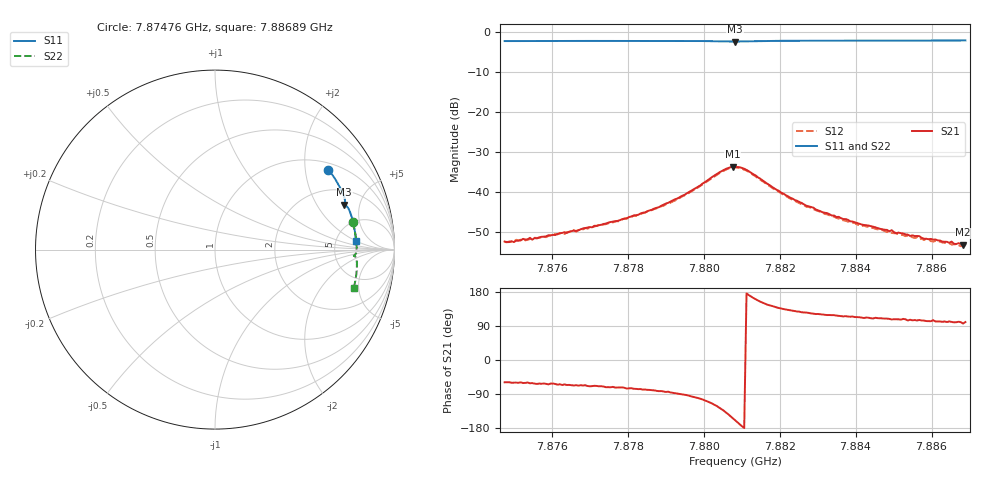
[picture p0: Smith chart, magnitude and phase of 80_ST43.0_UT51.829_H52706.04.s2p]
#  HZ  S  DB  R  50.00
! Rohde & Schwarz Vector Network Analyzer
! Rohde-Schwarz,ZNB20-2Port,1311601062101988,3.16
! Created: UTC 1/12/2023, 6:35:08 PM
! freq[Hz]  db:S11  ang:S11  db:S21  ang:S21  db:S12  ang:S12  db:S22  ang:S22
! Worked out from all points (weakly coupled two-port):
!   201 points, 7.87476 GHz to 7.88689 GHz, reference 50 ohm
!   highest |S21| = -33.66 dB at 7.88077 GHz (marker M1); lowest = -53.1 dB at 7.88683 GHz (marker M2)
!   lowest |S11| = -2.4 dB at 7.88083 GHz (marker M3), VSWR 7.43, Z = 148 + j178 ohm
!   |S11| at or under -10 dB: nowhere
!   |S22| runs from -2.2 to -1.9 dB; largest |S21 - S12| = 0.0014
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7.87476e9  -2.23 35.2  -52.36 -58.9  -52.48 -61.0  -2.15 11.2
7.875003e9  -2.22 34.5  -52.50 -59.8  -52.40 -62.1  -2.14 10.6
7.875428e9  -2.22 33.4  -51.43 -61.4  -51.70 -64.0  -2.12 9.5
7.875488e9  -2.22 33.2  -51.90 -60.9  -51.56 -63.1  -2.12 9.4
7.876823e9  -2.20 29.6  -49.10 -67.4  -49.32 -69.8  -2.08 6.3
7.877793e9  -2.18 26.9  -47.03 -72.2  -47.26 -77.3  -2.06 4.0
7.878824e9  -2.18 24.0  -43.75 -82.2  -43.81 -85.1  -2.06 1.6
7.879249e9  -2.19 22.8  -41.79 -87.8  -42.10 -90.9  -2.06 0.5
7.880522e9  -2.31 19.4  -34.48 -133.2  -34.67 -136.7  -2.18 -2.4
7.880765e9  -2.35 19.2  -33.66 -153.3  -33.86 -156.7  -2.23 -2.5
7.880826e9  -2.35 19.2  -33.67 -158.5  -33.84 -162.4  -2.23 -2.5
7.881129e9  -2.31 19.0  -34.45 175.7  -34.61 172.2  -2.18 -2.6
7.882039e9  -2.16 16.6  -40.12 135.9  -40.25 132.9  -2.03 -4.4
7.882888e9  -2.13 14.2  -43.89 122.4  -44.26 119.5  -1.99 -6.5
7.884162e9  -2.10 10.8  -48.10 111.7  -48.46 109.2  -1.95 -9.4
7.88489e9  -2.10 8.9  -49.79 108.5  -49.89 105.3  -1.94 -11.0
7.885617e9  -2.09 7.0  -50.97 104.3  -51.27 101.9  -1.93 -12.6
7.885678e9  -2.09 6.8  -51.00 105.6  -51.82 102.4  -1.93 -12.7
7.885799e9  -2.09 6.5  -51.66 104.1  -51.99 101.0  -1.93 -13.0
7.88586e9  -2.08 6.3  -51.66 102.8  -51.66 100.7  -1.93 -13.1
7.88683e9  -2.08 3.8  -53.15 96.2  -53.35 98.9  -1.92 -15.2
7.886891e9  -2.08 3.6  -53.07 100.3  -53.46 95.9  -1.92 -15.3
